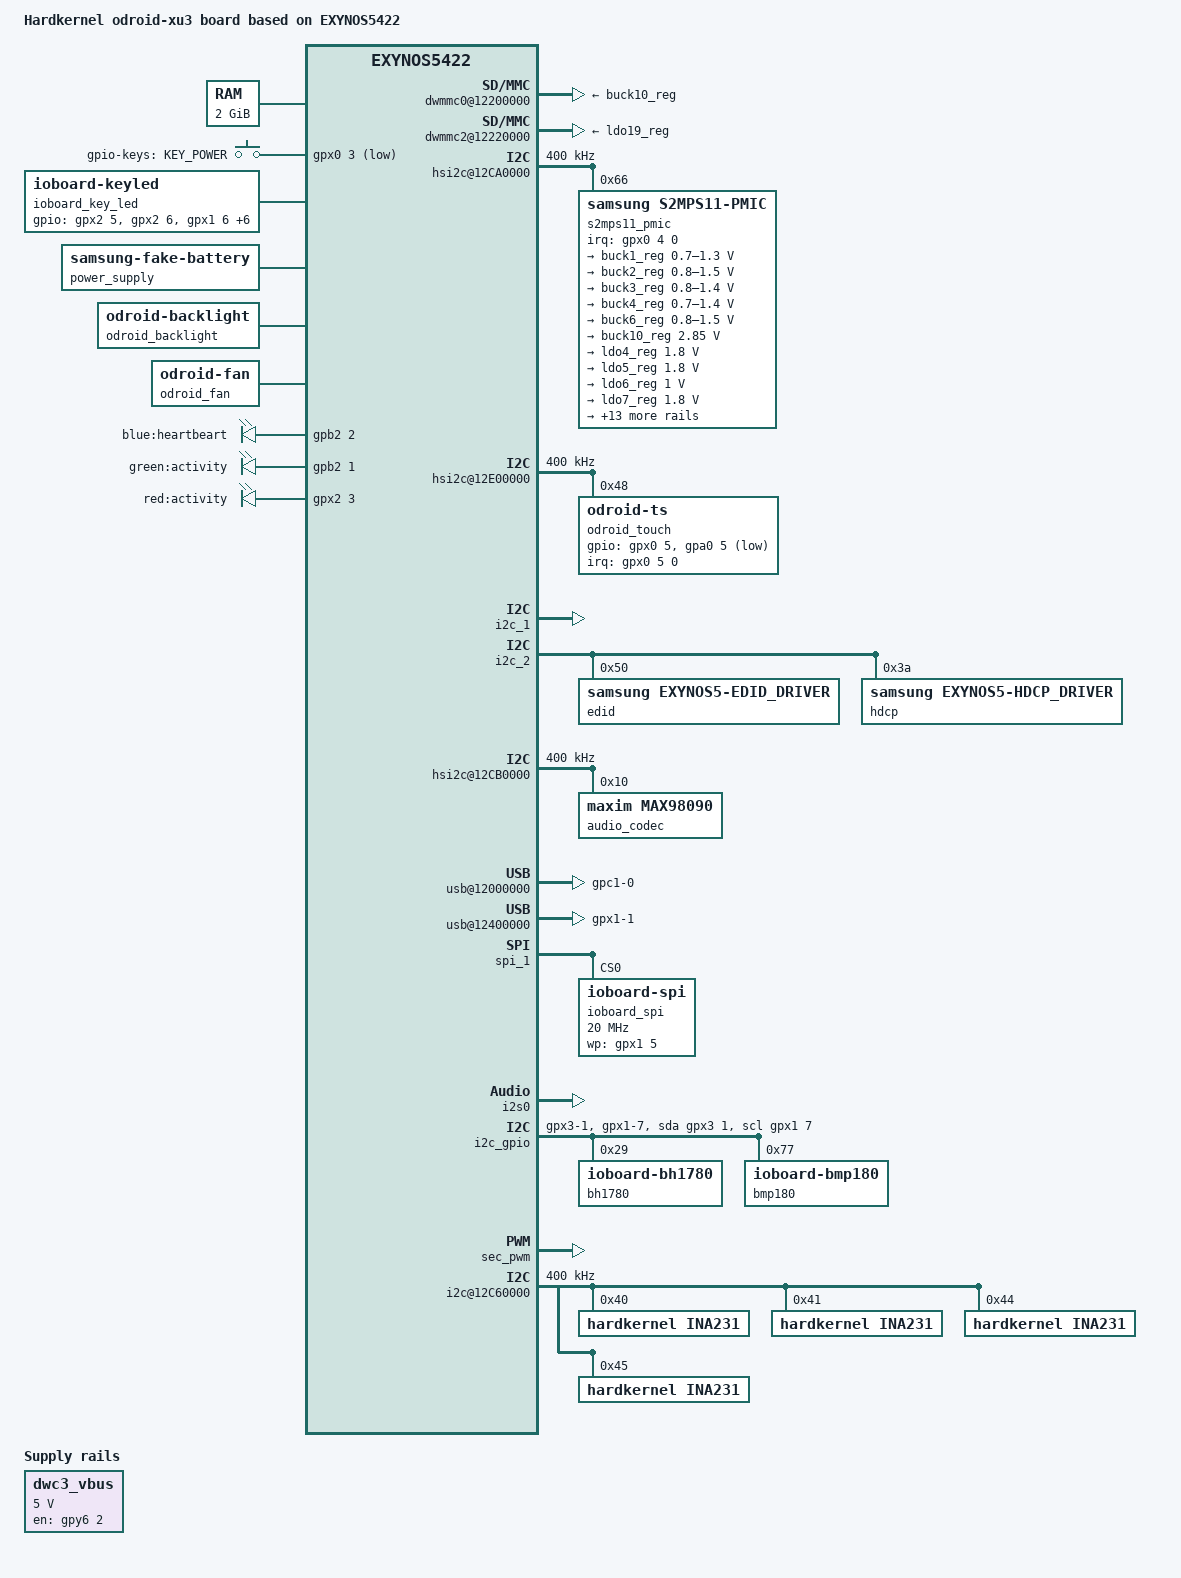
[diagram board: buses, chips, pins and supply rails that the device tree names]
/*
 * SAMSUNG xyref5422 board device tree source
 *
 * Copyright (c) 2013 Samsung Electronics Co., Ltd.
 *             http://www.samsung.com
 *
 * This program is free software; you can redistribute it and/or modify
 * it under the terms of the GNU General Public License version 2 as
 * published by the Free Software Foundation.
*/

/dts-v1/;
#include "exynos5422_evt0.dtsi"

/ {
	model = "Hardkernel odroid-xu3 board based on EXYNOS5422";
	compatible = "Hardkernel,odroid-xu3";

	memory {
		reg = <0x40000000 0x80000000>;
	};

	chosen {
		bootargs = "root=/dev/mmcblk0p2 rw rootfstype=ext4 init=/init console=ttySAC2,115200 vmalloc=512M";
	};

	fixed-rate-clocks {
		oscclk {
			compatible = "samsung,exynos5422-oscclk";
			clock-frequency = <24000000>;
		};
	};

	rtc {
		status = "okay";
	};

	dwmmc0@12200000 {
		status = "okay";
		num-slots = <1>;
		broken-cd;
		bypass-smu;
		fixed_volt;
		only_once_tune;
		extra_tuning;
		supports-highspeed;
		supports-hs200-1-8v-mode;
		supports-ddr200-1-8v-mode;
		enable-cache-control;
		sw_data_timeout;
		fifo-depth = <0x40>;
		card-detect-delay = <200>;
		qos_int_level = <222000>;
		samsung,dw-mshc-ciu-div = <3>;
		samsung,dw-mshc-sdr-timing = <0 4 3>;
		samsung,dw-mshc-ddr-timing = <0 2 3>;
		samsung,dw-mshc-hs200-timing = <0 2 3>;
		samsung,dw-mshc-ddr200-timing = <0 2 1>;
		vmmc-supply = <&buck10_reg>;
		vqmmc-supply = <&ldo18_reg>;
		clk_pin = "gpc0-0";
		clk_addr = "13410000.pinctrl";
		dw-mshc-hw-reset = <&gpd1 0 0>;
		clk_val = <0x3>;
		clk_str_num = <4>;
		num-ref-clks = <8>;
		ciu_clkin = <20812500 41625000 41625000 83250000 166500000 83250000 166500000 333000000>;
		pinctrl-names = "default";
		pinctrl-0 = <&sd0_clk &sd0_cmd &sd0_rdqs &sd0_bus1 &sd0_bus4 &sd0_bus8>;

		slot@0 {
			reg = <0>;
			bus-width = <8>;
		};
	};

	dwmmc2@12220000 {
		status = "okay";
		num-slots = <1>;
		supports-highspeed;
		cd-type = <1>;
		sw_data_timeout;
		fifo-depth = <0x40>;
		card-detect-delay = <200>;
		qos_int_level = <222000>;
		samsung,dw-mshc-ciu-div = <3>;
		samsung,dw-mshc-sdr-timing = <0 4 3>;
		samsung,dw-mshc-ddr-timing = <0 2 3>;
		vmmc-supply = <&ldo19_reg>;
		vqmmc-supply = <&ldo13_reg>;
		clk_pin = "gpc2-0";
		clk_addr = "13410000.pinctrl";
		clk_val = <0x3>;
		clk_str_num = <4>;
		num-ref-clks = <8>;
		ciu_clkin = <20812500 41625000 41625000 83250000 166500000 83250000 166500000 333000000>;
		pinctrl-names = "default";
		pinctrl-0 = <&sd2_clk &sd2_cmd &sd2_cd &sd2_bus1 &sd2_bus4>;

		slot@0 {
			reg = <0>;
			bus-width = <4>;
			disable-wp;
		};

	};

	pinctrl@13400000 {
		pmic_irq: pmic-irq {
			samsung,pins = "gpx0-4";
			samsung,pin-function = <0xf>;
			samsung,pin-pud = <3>;
			samsung,pin-drv = <3>;
		};
	};

	pinctrl@13410000 {
		pm_wrsti: pm-wrsti {
			samsung,pins = "gpy3-0";
			samsung,pin-con-pdn = <3>;
		};
	};

	hsi2c@12CC0000 {
		clock-frequency = <100000>;
		status = "disabled";
	};

	hsi2c@12CA0000 {
		samsung,hs-mode;
		clock-frequency = <400000>;
		status = "okay";

		s2mps11_pmic@66 {
			compatible = "samsung,s2mps11-pmic";
			reg = <0x66>;
			interrupts = <4 0 0>;
			interrupt-parent = <&gpx0>;
			pinctrl-names = "default";
			pinctrl-0 = <&pmic_irq &pm_wrsti>;
			wtsr_smpl = <1>;

			regulators {
				buck1_reg: BUCK1 {
					regulator-name = "vdd_mif";
					regulator-min-microvolt = <700000>;
					regulator-max-microvolt = <1300000>;
					regulator-always-on;
					regulator-boot-on;
					regulator-ramp-delay = <12000>;
					regulator-initial-mode = <1>;
				};

				buck2_reg: BUCK2 {
					regulator-name = "vdd_eagle";
					regulator-min-microvolt = <800000>;
					regulator-max-microvolt = <1500000>;
					regulator-always-on;
					regulator-boot-on;
					regulator-ramp-delay = <12000>;
					regulator-initial-mode = <1>;
				};

				buck3_reg: BUCK3 {
					regulator-name = "vdd_int";
					regulator-min-microvolt = <800000>;
					regulator-max-microvolt = <1400000>;
					regulator-always-on;
					regulator-boot-on;
					regulator-ramp-delay = <12000>;
					regulator-initial-mode = <1>;
				};

				buck4_reg: BUCK4 {
					regulator-name = "vdd_g3d";
					regulator-min-microvolt = <700000>;
					regulator-max-microvolt = <1400000>;
					regulator-always-on;
					regulator-boot-on;
					regulator-ramp-delay = <12000>;
					regulator-initial-mode = <1>;
				};

				buck6_reg: BUCK6 {
					regulator-name = "vdd_kfc";
					regulator-min-microvolt = <800000>;
					regulator-max-microvolt = <1500000>;
					regulator-always-on;
					regulator-boot-on;
					regulator-ramp-delay = <12000>;
					regulator-initial-mode = <1>;
				};

				buck10_reg: BUCK10 {
					regulator-name = "vddf_2v85";
					regulator-min-microvolt = <2850000>;
					regulator-max-microvolt = <2850000>;
					regulator-always-on;
					regulator-boot-on;
					regulator-ramp-delay = <12000>;
					regulator-initial-mode = <1>;
				};

				ldo4_reg: LDO4 {
					regulator-name = "vdd_adc";
					regulator-min-microvolt = <1800000>;
					regulator-max-microvolt = <1800000>;
					regulator-always-on;
					regulator-boot-on;
					regulator-ramp-delay = <12000>;
					regulator-initial-mode = <1>;
				};

				ldo5_reg: LDO5 {
					regulator-name = "vdd_pll";
					regulator-min-microvolt = <1800000>;
					regulator-max-microvolt = <1800000>;
					regulator-always-on;
					regulator-boot-on;
					regulator-ramp-delay = <12000>;
					regulator-initial-mode = <1>;
				};

				ldo6_reg: LDO6 {
					regulator-name = "vdd_ldo6";
					regulator-min-microvolt = <1000000>;
					regulator-max-microvolt = <1000000>;
					regulator-always-on;
					regulator-initial-mode = <1>;
				};

				ldo7_reg: LDO7 {
					regulator-name = "vdd_ldo7";
					regulator-min-microvolt = <1800000>;
					regulator-max-microvolt = <1800000>;
					regulator-always-on;
					regulator-boot-on;
					regulator-initial-mode = <1>;
				};

				ldo8_reg: LDO8 {
					regulator-name = "vdd_ldo8";
					regulator-min-microvolt = <1800000>;
					regulator-max-microvolt = <1800000>;
					regulator-always-on;
					regulator-boot-on;
					regulator-initial-mode = <1>;
				};

				ldo9_reg: LDO9 {
					regulator-name = "vdd_ldo9";
					regulator-min-microvolt = <3000000>;
					regulator-max-microvolt = <3000000>;
					regulator-always-on;
					regulator-boot-on;
					regulator-initial-mode = <1>;
				};

				ldo10_reg: LDO10 {
					regulator-name = "vdd_ldo10";
					regulator-min-microvolt = <1800000>;
					regulator-max-microvolt = <1800000>;
					regulator-always-on;
					regulator-boot-on;
					regulator-initial-mode = <1>;
				};

				ldo11_reg: LDO11 {
					regulator-name = "vdd_ldo11";
					regulator-min-microvolt = <1000000>;
					regulator-max-microvolt = <1000000>;
					regulator-always-on;
					regulator-boot-on;
					regulator-initial-mode = <1>;
				};

				ldo13_reg: LDO13 {
					regulator-name = "vdd_ldo13";
					regulator-min-microvolt = <1800000>;
					regulator-max-microvolt = <3300000>;
					regulator-boot-on;
					regulator-ramp-delay = <12000>;
					regulator-initial-mode = <1>;
				};

				ldo15_reg: LDO15 {
					regulator-name = "vdd_ldo15";
					regulator-min-microvolt = <3300000>;
					regulator-max-microvolt = <3300000>;
					regulator-always-on;
					regulator-initial-mode = <1>;
				};

				ldo17_reg: LDO17 {
					regulator-name = "vdd_eth";
					regulator-min-microvolt = <3300000>;
					regulator-max-microvolt = <3300000>;
					regulator-always-on;
					regulator-initial-mode = <1>;
				};

				ldo18_reg: LDO18 {
					regulator-name = "vdd_ldo18";
					regulator-min-microvolt = <1800000>;
					regulator-max-microvolt = <3300000>;
					regulator-always-on;
					regulator-boot-on;
					regulator-initial-mode = <1>;
				};

				ldo19_reg: LDO19 {
					regulator-name = "vdd_ldo19";
					regulator-min-microvolt = <1800000>;
					regulator-max-microvolt = <2850000>;
					regulator-always-on;
					regulator-initial-mode = <1>;
				};

				ldo23_reg: LDO23 {
					regulator-name = "vdd_mifs";
					regulator-min-microvolt = <800000>;
					regulator-max-microvolt = <1100000>;
					regulator-always-on;
					regulator-initial-mode = <1>;
					regulator-ramp-delay = <12000>;
				};

				ldo26_reg: LDO26 {
					regulator-name = "vdd_ldo26";
					regulator-min-microvolt = <3000000>;
					regulator-max-microvolt = <3000000>;
					regulator-always-on;
					regulator-initial-mode = <1>;
				};

				ldo27_reg: LDO27 {
					regulator-name = "vdd_g3ds";
					regulator-min-microvolt = <800000>;
					regulator-max-microvolt = <1100000>;
					regulator-always-on;
					regulator-initial-mode = <1>;
					regulator-ramp-delay = <12000>;
				};

				ldo28_reg: LDO28 {
					regulator-name = "vdd_ldo28";
					regulator-min-microvolt = <3300000>;
					regulator-max-microvolt = <3300000>;
					regulator-always-on;
					regulator-initial-mode = <1>;
				};
			};
		};
	};

	pinctrl@13400000 {
		key_pullnone: key-pullnone {
			samsung,pins = "gpx0-3";
			samsung,pin-pud = <0>;
		};
	};

	gpio_keys {
		compatible = "gpio-keys";
		#address-cells = <1>;
		#size-cells = <0>;
		poll-interval = <100>;
		pinctrl-names = "default";
		pinctrl-0 = <&key_pullnone>;

		button@1 {
			label = "gpio-keys: KEY_POWER";
			interrupts = <3 0 0>;
			interrupt-parent = <&gpx0>;
			linux,code = <116>;
			gpios = <&gpx0 3 0xf>;
			gpio-key,wakeup = <1>;
		};
	};

	hsi2c@12E00000 {
		clock-frequency = <400000>;
		status = "disabled";
	};

	i2c_1: i2c@12C70000 {
		samsung,i2c-max-bus-freq = <400000>;
		status = "okay";
	};

	i2c_2: i2c@12C80000 {
		samsung,i2c-max-bus-freq = <400000>;
		status = "okay";

		/* hdmi edid dirver */
		edid@50 {
			compatible = "samsung,exynos5-edid_driver";
			reg = <0x50>;
		};

		/* hdmi hdcp dirver */
		hdcp@3A {
			compatible = "samsung,exynos5-hdcp_driver";
			reg = <0x3A>;
		};
	};

	hsi2c@12CB0000 {
		samsung,hs-mode;
		clock-frequency = <400000>;
		status = "okay";
		audio_codec: codec@10 {
			compatible = "maxim,max98090";
			reg = <0x10>;
		};
	};

	pinctrl@13400000 {
		b_sess0_irq: b-sess0-irq {
			samsung,pins = "gpx3-5";
			samsung,pin-function = <0xf>;
			samsung,pin-pud = <0>;
		};

		b_sess1_irq: b-sess1-irq {
			samsung,pins = "gpx3-4";
			samsung,pin-function = <0xf>;
			samsung,pin-pud = <0>;
		};

		id1_irq: id1-irq {
			samsung,pins = "gpc1-0";
			samsung,pin-function = <0xf>;
			samsung,pin-pud = <3>;
		};

		id2_irq: id2-irq {
			samsung,pins = "gpx1-1";
			samsung,pin-function = <0xf>;
			samsung,pin-pud = <0>;
		};
	};

	dwc3_vbus: fixedregulator@0 {
		compatible = "regulator-fixed";
		regulator-name = "VUSB_BOOST_5V";
		regulator-min-microvolt = <5000000>;
		regulator-max-microvolt = <5000000>;
		gpio = <&gpy6 2 1>;
		enable-active-high;
	};

	usb@12000000 {
		dwc3-vbus-supply = <&dwc3_vbus>;
		samsung,bsess-gpio = <&gpx3 5 0xf>;
		pinctrl-names = "default";
		pinctrl-0 = <&b_sess0_irq>;
		samsung,id-gpio = <&gpc1 0  0xf>;
		pinctrl-names = "default";
		pinctrl-0 = <&id1_irq>;
		status = "okay";

		dwc3 {
			maximum-speed = "super-speed";
			dr_mode = "host";
		};
	};

	usb@12400000 {
		dwc3-vbus-supply = <&dwc3_vbus>;
		samsung,bsess-gpio = <&gpx3 4 0xf>;
		pinctrl-names = "default";
		pinctrl-0 = <&b_sess1_irq>;
		samsung,id-gpio = <&gpx1 1  0xf>;
		pinctrl-names = "default";
		pinctrl-0 = <&id2_irq>;
		status = "okay";

		dwc3 {
			maximum-speed = "super-speed";
			dr_mode = "otg";
		};
	};

	usb@12110000 {
		samsung,boost5v-gpio = <&gpy6 4 1>;
	};

/*disp_driver {*/
	fimd_fb: fimd_fb {
		gpios = <&gpx0 2 0xf>;
		fimd: fimd_ctrl {
            /* AOC I2269V 22" (1920 X 1080) */
			samsung,left_margin = <56>;
			samsung,right_margin = <24>;
			samsung,upper_margin = <3>;
			samsung,lower_margin = <3>;
			samsung,hsync_len = <14>;
			samsung,vsync_len = <3>;

			samsung,xres = <1920>;
			samsung,yres = <1080>;
			samsung,virtual_x = <1920>;
			samsung,virtual_y = <1080>; 

            /* SAMSUNG 32" (3840 X 2160 or 2560 X 1440) */
/*
			samsung,left_margin = <160>;
			samsung,right_margin = <48>;
			samsung,upper_margin = <41>;
			samsung,lower_margin = <3>;
			samsung,hsync_len = <32>;
			samsung,vsync_len = <5>;

			samsung,xres = <3840>;
			samsung,yres = <2160>;
			samsung,virtual_x = <3840>;
			samsung,virtual_y = <2160>; 

			samsung,xres = <2560>;
			samsung,yres = <1440>;
			samsung,virtual_x = <2560>;
			samsung,virtual_y = <1440>; 
*/			
			samsung,width = <677>;
			samsung,height = <290>;
			samsung,max_bpp = <32>;
			samsung,default_bpp = <24>;

			fb_driver_data {
				fb_win_variant_0 {
					has_osd_c = <1>;
					has_osd_d = <0>;
					has_osd_alpha = <0>;
					osd_size_off = <0x08>;
					palette_size = <256>;
					VALID_BPP_1248 = <1>;
					VALID_BPP_13 = <1>;
					VALID_BPP_15 = <1>;
					VALID_BPP_16 = <1>;
					VALID_BPP_18 = <1>;
					VALID_BPP_19 = <1>;
					VALID_BPP_24 = <1>;
					VALID_BPP_25 = <1>;
					VALID_BPP_32 = <1>;
				};
				fb_win_variant_1 {
					has_osd_c = <1>;
					has_osd_d = <1>;
					has_osd_alpha = <1>;
					osd_size_off = <0x0c>;
					palette_size = <256>;
					VALID_BPP_1248 = <1>;
					VALID_BPP_13 = <1>;
					VALID_BPP_15 = <1>;
					VALID_BPP_16 = <1>;
					VALID_BPP_18 = <1>;
					VALID_BPP_19 = <1>;
					VALID_BPP_24 = <1>;
					VALID_BPP_25 = <1>;
					VALID_BPP_32 = <1>;
				};
				fb_win_variant_2 {
					has_osd_c = <1>;
					has_osd_d = <1>;
					has_osd_alpha = <1>;
					osd_size_off = <0x0c>;
					palette_size = <256>;
					VALID_BPP_1248 = <1>;
					VALID_BPP_13 = <1>;
					VALID_BPP_15 = <1>;
					VALID_BPP_16 = <1>;
					VALID_BPP_18 = <1>;
					VALID_BPP_19 = <1>;
					VALID_BPP_24 = <1>;
					VALID_BPP_25 = <1>;
					VALID_BPP_32 = <1>;
				};
				fb_win_variant_3 {
					has_osd_c = <1>;
					has_osd_d = <0>;
					has_osd_alpha = <1>;
					osd_size_off = <0x0>;
					palette_size = <256>;
					VALID_BPP_1248 = <1>;
					VALID_BPP_13 = <1>;
					VALID_BPP_15 = <1>;
					VALID_BPP_16 = <1>;
					VALID_BPP_18 = <1>;
					VALID_BPP_19 = <1>;
					VALID_BPP_24 = <1>;
					VALID_BPP_25 = <1>;
					VALID_BPP_32 = <1>;
				};
				fb_win_variant_4 {
					has_osd_c = <1>;
					has_osd_d = <0>;
					has_osd_alpha = <1>;
					osd_size_off = <0x0>;
					palette_size = <256>;
					VALID_BPP_1248 = <1>;
					VALID_BPP_13 = <1>;
					VALID_BPP_15 = <1>;
					VALID_BPP_16 = <1>;
					VALID_BPP_18 = <1>;
					VALID_BPP_19 = <1>;
					VALID_BPP_24 = <1>;
					VALID_BPP_25 = <1>;
					VALID_BPP_32 = <1>;
				};
			};
		};
		mipi_dsi: mipi_dsi {
		    /* TC358764 LCD Module : power, reset*/
			gpios = <&gpa1 5 0x1>, <&gpa0 4 0x1>;
			interrupt-parent = <&gic>;
			interrupts = <0 82 0>;
			/* Interface definition: 0 - DSIM_COMMAND,
						 1 - DSIM_VIDEO */
			e_interface = <1>;

			/* Pixel format : 0 - DSIM_CMD_3BPP,
					  1 - DSIM_CMD_8BPP,
					  2 - DSIM_CMD_12BPP,
					  3 - DSIM_CMD_16BPP,
					  4 - DSIM_VID_16BPP_565,
					  5 - DSIM_VID_18BPP_666PACKED,
					  6 - DSIM_18BPP_666LOOSELYPACKED,
					  7 - DSIM_24BPP_888 */
			e_pixel_format = <7>;

			/* main frame fifo auto flush at VSYNC pulse */
			auto_flush = <0>;
			eot_disable = <1>;
			auto_vertical_cnt = <0>;
			hse = <0>;
			hfp = <0>;
			hbp = <0>;
			hsa = <0>;

			/* num of data lane : 0 - DSIM_DATA_LANE_1,
					      1 - DSIM_DATA_LANE_2,
					      2 - DSIM_DATA_LANE_3,
					      3 - DSIM_DATA_LANE_4 */
			e_no_data_lane = <3>;
			/* byte clock divider : 0 - DSIM_PLL_OUT_DIV8,
						1 - DSIM_EXT_CLK_DIV8,
						2 - DSIM_EXT_CLK_BYPASS */
			e_byte_clk = <0>;
			/* Burst mode : 0 - DSIM_NON_BURST_SYNC_EVENT,
					2 - DSIM_NON_BURST_SYNC_PULSE,
					1 - DSIM_BURST
					4 - DSIM_NON_VIDEO_MODE */
			e_burst_mode = <1>;
			/* PMS
			   - 1. LCD_S6E8AA0 : p - 4, m - 80, s - 2
			   - 2. LCD_S6E3FA0(COMMAND): p - 2, m - 46, s - 1
			   - 3. LCD_S6E3FA0(VIDEO): p - 4, m - 75, s - 1
			   - 4. LCD_S6E3HA0(COMMAND): p - 2, m - 46, s - 1
			   - 4. LCD_TC358764(VIDEO):  p - 4, m - 80, s - 2
		   */
			p = <4>;
			m = <80>;
			s = <2>;
			/* D-PHY PLL stable time spec :min = 200usec ~ max 400usec */
			pll_stable_time = <500>;
			/* escape clk : 7MHz */
			esc_clk = <7000000>;
			/* stop state holding counter after bta change count 0 ~ 0xfff */
			stop_holding_cnt = <0x0fff>;
			/* bta timeout 0 ~ 0xff */
			bta_timeout = <0xff>;
			/* lp rx timeout 0 ~ 0xffff */
			rx_timeout = <0xffff>;
		};
	};

	spi_0: spi@12d20000 {
		status = "disabled";
	};

	spi_1: spi@12d30000 {
	    status = "okay";
        samsung,spi-src-clk = <0>;
        num-cs = <1>;
        
    	ioboard_spi   {
    	    compatible = "ioboard-spi";
    	    reg = <0>;
    	    spi-max-frequency = <20000000>;
    	    pinctrl-names = "default";
    	    pinctrl-0 = <&ioboard_flash_cs &ioboard_wp>;
    	    wp-gpio = <&gpx1 5 0>;
    	    
    	    controller-data {
        	    cs-gpio = <&gpa2 5 0>;
        	    samsung,spi-feedback-delay = <0>;
    	    };
    	};
    };

	spi_2: spi@12d40000 {
		status = "disabled";
	};

	spi_3: spi@131a0000 {
		status = "disabled";
	};

	spi_4: spi@131b0000 {
		status = "disabled";
	};

	i2s0: i2s@03830000 {
		status = "okay";
	};

	sound {
		compatible = "hardkernel,odroid-max98090";
		clocks = <&clock 6>;		/* fout_epll */
		clock-names = "fout_epll";
		samsung,audio-cpu = <&i2s0		/* primary */
				     		&i2s0>;		/* secondary */
		samsung,audio-codec = <&audio_codec
				       &audio_codec>;
		status = "okay";
	};

	pinctrl@13400000 {
		gpio_i2c_sda: gpio-i2c-sda {
			samsung,pins = "gpx3-1";
			/* 0 = input, 1 = output */
			samsung,pin-function = <0>;
			/* 0 = disable, 1 = pull dn, 2 = reserved, 3 = pull up */
			samsung,pin-pud = <0x00>;
		};
		gpio_i2c_scl: gpio-i2c-scl {
			samsung,pins = "gpx1-7";
			/* 0 = input, 1 = output */
			samsung,pin-function = <0>;
			/* 0 = disable, 1 = pull dn, 2 = reserved, 3 = pull up */
			samsung,pin-pud = <0x00>;
		};
		ioboard_key: ioboard-key {
			samsung,pins = "gpx2-5", "gpx2-6", "gpx1-6", "gpx1-2";
			/* 0 = input, 1 = output */
			samsung,pin-function = <0>;
			/* 0 = disable, 1 = pull dn, 2 = reserved, 3 = pull up */
			samsung,pin-pud = <0x00>;
		};
		ioboard_led: ioboard-led {
			samsung,pins = "gpx2-7", "gpx2-4", "gpx1-3", "gpx2-0";
			/* 0 = input, 1 = output */
			samsung,pin-function = <1>;
			/* 0 = disable, 1 = pull dn, 2 = reserved, 3 = pull up */
			samsung,pin-pud = <0x03>;
		};
		ioboard_wp: ioboard-wp  {
			samsung,pins = "gpx1-5";
			/* 0 = input, 1 = output */
			samsung,pin-function = <0>;
			/* 0 = disable, 1 = pull dn, 2 = reserved, 3 = pull up */
			samsung,pin-pud = <0x00>;
		};
	};
	pinctrl@14010000 {
		ioboard_led_1: ioboard-led-1 {
			samsung,pins = "gpb3-2";
			/* 0 = input, 1 = output */
			samsung,pin-function = <1>;
			/* 0 = disable, 1 = pull dn, 2 = reserved, 3 = pull up */
			samsung,pin-pud = <0x03>;
		};
        ioboard_flash_cs: ioboard-flash-cs {
            samsung,pins = "gpa2-5";
			/* 0 = input, 1 = output, 2 = SPI_nSS */
            samsung,pin-function = <2>;
			/* 0 = disable, 1 = pull dn, 2 = reserved, 3 = pull up */
            samsung,pin-pud = <0>;
        };		
	};

	ioboard_key_led    {
        compatible = "ioboard-keyled";
		pinctrl-names = "default";
		pinctrl-0 = <&ioboard_key &ioboard_led &ioboard_led_1>;
		gpios = <
		         &gpx2 5 0 /* IOBOARD_SW1 */
			     &gpx2 6 0 /* IOBOARD_SW2 */
		         &gpx1 6 0 /* IOBOARD_SW3 */
			     &gpx1 2 0 /* IOBOARD_SW4 */
		         &gpx2 7 0 /* IOBOARD_LED1 */
			     &gpx2 4 0 /* IOBOARD_LED2 */
		         &gpx1 3 0 /* IOBOARD_LED3 */
			     &gpb3 2 0 /* IOBOARD_LED4 */
			     &gpx2 0 0 /* IOBOARD_LED5 */
			    >;
		status = "okay";
	};

	i2c_gpio {
		compatible = "i2c-gpio";
		gpios = <
		         &gpx3 1 0 /* sda */
			     &gpx1 7 0 /* scl */
			    >;
		i2c-gpio,sda-open-drain;
		i2c-gpio,scl-open-drain;
		i2c-gpio,delay-us = <10>;	/* ~50 kHz */
		#address-cells = <1>;
		#size-cells = <0>;
		pinctrl-names = "default";
		pinctrl-0 = <&gpio_i2c_sda &gpio_i2c_scl>;
		status = "okay";

		/* light sensor : bh1780 dirver */
		bh1780@29 {
			compatible = "ioboard-bh1780";
			reg = <0x29>;
		};

		/* pressure sensor : bmp180 dirver */
		bmp180@77 {
			compatible = "ioboard-bmp180";
			reg = <0x77>;
		};
	};

	display-port-controller {
		hsync-active-high = <0>;
		vsync-active-high = <0>;
		interlaced = <0>;

		samsung,color-space = <0>;
		samsung,dynamic-range = <0>;
		samsung,ycbcr-coeff = <0>;
		samsung,color-depth = <1>;
		samsung,link-rate = <0x0a>;
		samsung,lane-count = <4>;

		samsung,hpd-gpio = <&gpx0 7 3>; 
		pinctrl-names = "default";
		pinctrl-0 = <&dp_hpd>;
	};

	ion {
		compatible = "samsung,exynos5430-ion";

		contig-names = "common",
			       "mfc_sh",
			       "g2d_wfd",
			       "video",
			       "mfc_input",
			       "sectbl",
			       "mfc_fw",
			       "mfc_nfw",
			       "secdma";

		contig = <0 0x6650000 0x0>,
		         <2 0x400000 0x0>,
		         <10 0x800000 0x0>,
		         <11 0x6000000 0x0>,
		         <7 0x1000000 0x0>,
		         <9 0x400000 0x0>,
		         <8 0x400000 0x0>,
		         <12 0x400000 0x0>,
		         <13 0x400000 0x0>;

		ion_noncontig_heap {
			id-type = <0 0>;
		};

		exynos_contig_heap {
			id-type = <4 6>;
		};
	};
	
	power_supply    {
        compatible = "samsung-fake-battery";
	};

	pinctrl@14010000 {
		pwm0_out: pwm0-out {
			samsung,pins = "gpb2-0";
			samsung,pin-function = <2>;
			samsung,pin-pud = <1>;
		};
		pwm3_out: pwm3-out {
			samsung,pins = "gpb2-3";
			samsung,pin-function = <2>;
			samsung,pin-pud = <1>;
		};
	};

	sec_pwm: pwm@12dd0000 {
		status = "okay";
	};

	pinctrl@13400000 {
		touch_irq: touch-irq {
			samsung,pins = "gpx0-5";
			/* 0 = input, 1 = output */
			samsung,pin-function = <0>;
			/* 0 = disable, 1 = pull dn, 2 = reserved, 3 = pull up */
			samsung,pin-pud = <3>;
		};
	};

	pinctrl@14010000 {
		touch_reset: touch-reset {
			samsung,pins = "gpa0-5";
			/* 0 = input, 1 = output */
			samsung,pin-function = <1>;
			/* 0 = disable, 1 = pull dn, 2 = reserved, 3 = pull up */
			samsung,pin-pud = <0>;
		};
	};
	
	/* I2C8 */
    hsi2c@12E00000  {
		samsung,hs-mode;
		clock-frequency = <400000>;
		status = "okay";
		odroid_touch@48 {
			compatible = "odroid-ts";
			reg = <0x48>;
    		interrupts = <5 0 0>;
    		interrupt-parent = <&gpx0>;
    		pinctrl-names = "default";
    		pinctrl-0 = <&touch_irq &touch_reset>;
    		/* touch-irq, touch-reset */
			gpios = <&gpx0 5 0x0>, <&gpa0 5 0x1>;
		};
    };
    
	odroid_backlight {
        compatible = "odroid-backlight";
		pinctrl-names = "default";
		pinctrl-0 = <&pwm3_out>;
	
		pwm_id = <3>;
		pwm_period_ns = <30000>;	/* 30kHz */
		pwm_max = <255>;
		pwm_default = <128>;		/* initial value : 0 to 255 */
	};

	odroid_fan {
        compatible = "odroid-fan";
		pinctrl-names = "default";
		pinctrl-0 = <&pwm0_out>;
	
		pwm_id = <0>;
		pwm_periode_ns = <20972>;	/* 22kHz */
		pwm_duty = <200>;			/* initial value : 0 to 255 */

		fan_mode = <1>; 			/* 0:manual, 1:auto */

		tmu_level_0 = <57>;
		tmu_level_1 = <63>;
		tmu_level_2 = <68>;

		fan_speed_0 = <1>;
		fan_speed_1 = <51>;
		fan_speed_2 = <71>;
		fan_speed_3 = <91>;
	};

	odroid_sysfs    {
        compatible = "odroid-sysfs";
	};
	
    leds {
        compatible = "gpio-leds";
        /* Blue LED */
        hearbeat {
            label = "blue:heartbeart";    
            gpios = <&gpb2 2 0>;
            default-state = "off";
            linux,default-trigger = "heartbeat";
        };

        /* Green LED */
        eMMC {
            label = "green:activity";
            gpios = <&gpb2 1 0>;
            default-state = "off";
            linux,default-trigger = "mmc0";
        };

        /* Red LED */
        microSD {
            label = "red:activity";
            gpios = <&gpx2 3 0>;
            default-state = "off";
            linux,default-trigger = "mmc1";
        };
    };

    /* i2c0 INA231 Sensors */
    /*
        - include/linux/platform_data/ina231.h
        
        config         = INA231_CONFIG(VSH_CT(eVSH_CT_8244uS)      | \
                                        VBUS_CT(eVBUS_CT_8244uS)   | \
                                        AVG_BIT(eAVG_16)           | \
                                        eSHUNT_BUS_VOLT_CONTINUOUS),
        update_period  = CONVERSION_DELAY(eVSH_CON_8244uS, eVBUS_CON_8244uS, eAVG_CON_16),   // unit = usec
    */
	i2c@12C60000 {
		status = "okay";
        clock-frequency = <400000>;
        ina231@40  {
			compatible = "hardkernel,INA231";
			reg = <0x40>;
    		sensor-name = "sensor_arm";
    		enable = <0>;
    		max_A = <9>;
    		shunt_R_mohm = <10>;
    		config = <0x45FF>;
    		update_period = <263808>;
        };
        ina231@41  {
			compatible = "hardkernel,INA231";
			reg = <0x41>;
    		sensor-name = "sensor_mem";
    		enable = <0>;
    		max_A = <3>;
    		shunt_R_mohm = <10>;
    		config = <0x45FF>;
    		update_period = <263808>;
        };
        ina231@44  {
			compatible = "hardkernel,INA231";
			reg = <0x44>;
    		sensor-name = "sensor_g3d";
    		enable = <0>;
    		max_A = <5>;
    		shunt_R_mohm = <10>;
    		config = <0x45FF>;
    		update_period = <263808>;
        };
        ina231@45  {
			compatible = "hardkernel,INA231";
			reg = <0x45>;
    		sensor-name = "sensor_kfc";
    		enable = <0>;
    		max_A = <2>;
    		shunt_R_mohm = <10>;
    		config = <0x45FF>;
    		update_period = <263808>;
        };
	};
};
